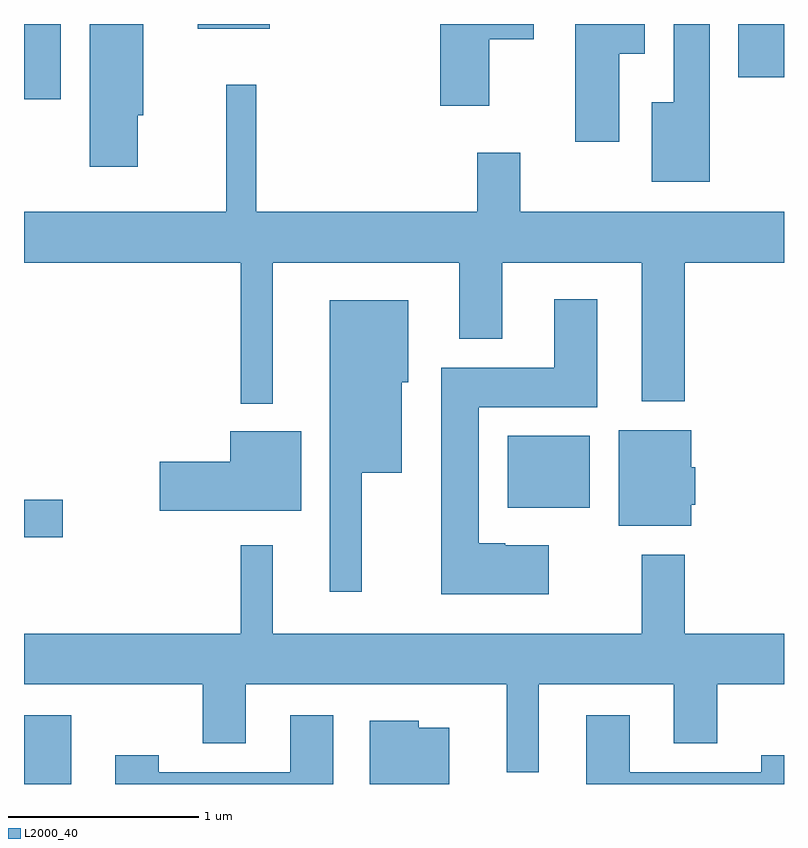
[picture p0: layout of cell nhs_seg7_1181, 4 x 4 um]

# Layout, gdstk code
import gdstk
lib = gdstk.Library(unit=1e-6, precision=1e-09)
def R(c, l, rs):  # rectangles x0, y0, x1, y1
    for r in rs: c.add(gdstk.rectangle(r[:2], r[2:], *l))
def P(c, l, *ps):  # polygons
    for p in ps: c.add(gdstk.Polygon(p, *l))
L2000_40 = (2000, 40)

nhs_seg7_1181 = lib.new_cell('nhs_seg7_1181')
R(nhs_seg7_1181, L2000_40, [(221.611,1698.252,221.859,1698.614), (221.611,1699.551,221.814,1699.749), (224.156,1699.706,224.589,1700.084), (221.611,1701.856,221.804,1702.252), (225.371,1701.971,225.611,1702.252), (222.526,1702.226,222.904,1702.252)])
P(nhs_seg7_1181, L2000_40, [(224.059,1702.171),(224.294,1702.171),(224.294,1702.252),(223.801,1702.252),(223.801,1701.821),(224.059,1701.821)],
  [(222.209,1701.771),(222.239,1701.771),(222.239,1702.252),(221.956,1702.252),(221.956,1701.501),(222.209,1701.501)],
  [(224.744,1702.096),(224.879,1702.096),(224.879,1702.252),(224.511,1702.252),(224.511,1701.631),(224.744,1701.631)],
  [(225.219,1702.252),(225.031,1702.252),(225.031,1701.839),(224.916,1701.839),(224.916,1701.421),(225.219,1701.421)],
  [(222.919,1700.996),(223.901,1700.996),(223.901,1700.596),(224.129,1700.596),(224.129,1700.996),(224.861,1700.996),(224.861,1700.266),(225.089,1700.266),(225.089,1700.996),(225.611,1700.996),(225.611,1701.264),(224.224,1701.264),(224.224,1701.574),(223.996,1701.574),(223.996,1701.264),(222.834,1701.264),(222.834,1701.933),(222.676,1701.933),(222.676,1701.264),(221.611,1701.264),(221.611,1700.996),(222.751,1700.996),(222.751,1700.253),(222.919,1700.253)],
  [(224.374,1699.509),(224.145,1699.509),(224.145,1699.519),(224.004,1699.519),(224.004,1700.236),(224.629,1700.236),(224.629,1700.804),(224.401,1700.804),(224.401,1700.444),(223.806,1700.444),(223.806,1699.251),(224.374,1699.251)],
  [(223.389,1699.891),(223.599,1699.891),(223.599,1700.366),(223.634,1700.366),(223.634,1700.799),(223.221,1700.799),(223.221,1699.263),(223.389,1699.263)],
  [(225.124,1699.721),(225.144,1699.721),(225.144,1699.919),(225.124,1699.919),(225.124,1700.114),(224.741,1700.114),(224.741,1699.611),(225.124,1699.611)],
  [(223.069,1700.109),(222.696,1700.109),(222.696,1699.949),(222.326,1699.949),(222.326,1699.691),(223.069,1699.691)],
  [(224.319,1698.776),(225.031,1698.776),(225.031,1698.466),(225.259,1698.466),(225.259,1698.776),(225.611,1698.776),(225.611,1699.044),(225.089,1699.044),(225.089,1699.459),(224.861,1699.459),(224.861,1699.044),(222.919,1699.044),(222.919,1699.508),(222.751,1699.508),(222.751,1699.044),(221.611,1699.044),(221.611,1698.776),(222.551,1698.776),(222.551,1698.466),(222.779,1698.466),(222.779,1698.776),(224.151,1698.776),(224.151,1698.313),(224.319,1698.313)],
  [(225.611,1698.404),(225.491,1698.404),(225.491,1698.314),(224.799,1698.314),(224.799,1698.614),(224.571,1698.614),(224.571,1698.252),(225.611,1698.252)],
  [(223.239,1698.614),(223.011,1698.614),(223.011,1698.314),(222.319,1698.314),(222.319,1698.404),(222.091,1698.404),(222.091,1698.252),(223.239,1698.252)],
  [(223.849,1698.549),(223.689,1698.549),(223.689,1698.584),(223.431,1698.584),(223.431,1698.252),(223.849,1698.252)])

lib.write_gds('nhs_seg7_1181.gds')
